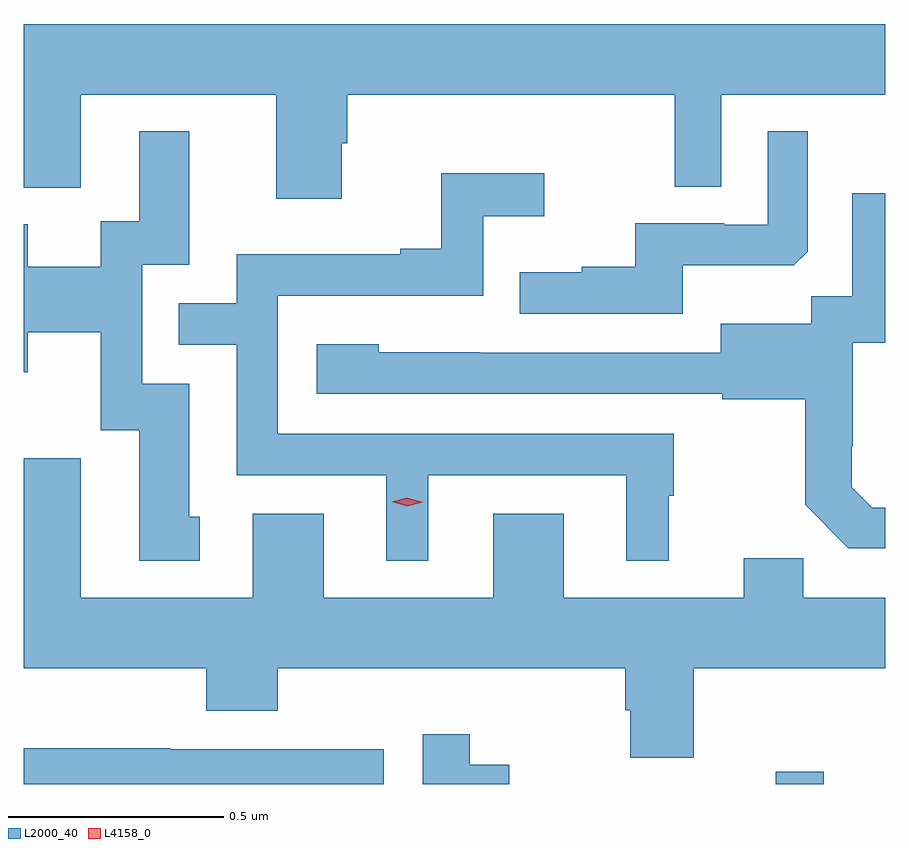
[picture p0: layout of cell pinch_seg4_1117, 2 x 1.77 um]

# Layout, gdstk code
import gdstk
lib = gdstk.Library(unit=1e-6, precision=1e-09)
def R(c, l, rs):  # rectangles x0, y0, x1, y1
    for r in rs: c.add(gdstk.rectangle(r[:2], r[2:], *l))
def P(c, l, *ps):  # polygons
    for p in ps: c.add(gdstk.Polygon(p, *l))
L2000_40 = (2000, 40)
L4158_0 = (4158, 0)

pinch_seg4_1117 = lib.new_cell('pinch_seg4_1117')
R(pinch_seg4_1117, L2000_40, [(556.627,793.887,556.738,793.915)])
P(pinch_seg4_1117, L2000_40, [(555.619,795.375),(555.632,795.375),(555.632,795.488),(556.392,795.488),(556.392,795.274),(556.5,795.274),(556.5,795.488),(556.881,795.488),(556.881,795.652),(554.881,795.652),(554.881,795.272),(555.013,795.272),(555.013,795.488),(555.467,795.488),(555.467,795.246),(555.619,795.246)],
  [(556.411,795.092),(556.669,795.092),(556.701,795.123),(556.701,795.403),(556.608,795.403),(556.608,795.186),(556.508,795.186),(556.508,795.189),(556.301,795.189),(556.301,795.088),(556.177,795.088),(556.177,795.076),(556.033,795.076),(556.033,794.979),(556.411,794.979)],
  [(555.289,794.508),(555.265,794.508),(555.265,794.817),(555.156,794.817),(555.156,795.093),(555.265,795.093),(555.265,795.403),(555.149,795.403),(555.149,795.194),(555.059,795.194),(555.059,795.088),(554.89,795.088),(554.89,795.187),(554.881,795.187),(554.881,794.843),(554.89,794.843),(554.89,794.936),(555.06,794.936),(555.06,794.709),(555.149,794.709),(555.149,794.406),(555.289,794.406)],
  [(555.82,794.604),(556.28,794.604),(556.28,794.405),(556.378,794.405),(556.378,794.556),(556.39,794.556),(556.39,794.7),(555.471,794.7),(555.471,795.021),(555.948,795.021),(555.948,795.206),(556.09,795.206),(556.09,795.305),(555.85,795.305),(555.85,795.13),(555.755,795.13),(555.755,795.117),(555.375,795.117),(555.375,795.003),(555.241,795.003),(555.241,794.907),(555.375,794.907),(555.375,794.604),(555.722,794.604),(555.722,794.405),(555.82,794.405)],
  [(556.881,794.529),(556.851,794.529),(556.804,794.576),(556.804,794.671),(556.806,794.671),(556.806,794.912),(556.881,794.912),(556.881,795.259),(556.805,795.259),(556.805,795.02),(556.71,795.02),(556.71,794.956),(556.499,794.956),(556.499,794.889),(555.941,794.889),(555.941,794.89),(555.705,794.89),(555.705,794.908),(555.561,794.908),(555.561,794.793),(556.503,794.793),(556.503,794.781),(556.695,794.781),(556.695,794.535),(556.795,794.435),(556.881,794.435)],
  [(556.135,794.515),(555.971,794.515),(555.971,794.32),(555.577,794.32),(555.577,794.515),(555.413,794.515),(555.413,794.32),(555.013,794.32),(555.013,794.644),(554.881,794.644),(554.881,794.156),(555.305,794.156),(555.305,794.057),(555.47,794.057),(555.47,794.156),(556.277,794.156),(556.277,794.058),(556.289,794.058),(556.289,793.948),(556.437,793.948),(556.437,794.156),(556.881,794.156),(556.881,794.32),(556.691,794.32),(556.691,794.411),(556.553,794.411),(556.553,794.32),(556.135,794.32)],
  [(556.008,793.932),(555.916,793.932),(555.916,794.002),(555.807,794.002),(555.807,793.887),(556.008,793.887)],
  [(555.717,793.968),(555.221,793.968),(555.221,793.97),(554.881,793.97),(554.881,793.887),(555.717,793.887)])
P(pinch_seg4_1117, L4158_0, [(555.771,794.532),(555.735,794.542),(555.735,794.542),(555.735,794.543),(555.771,794.552),(555.807,794.541),(555.807,794.541),(555.807,794.541)])

lib.write_gds('pinch_seg4_1117.gds')
